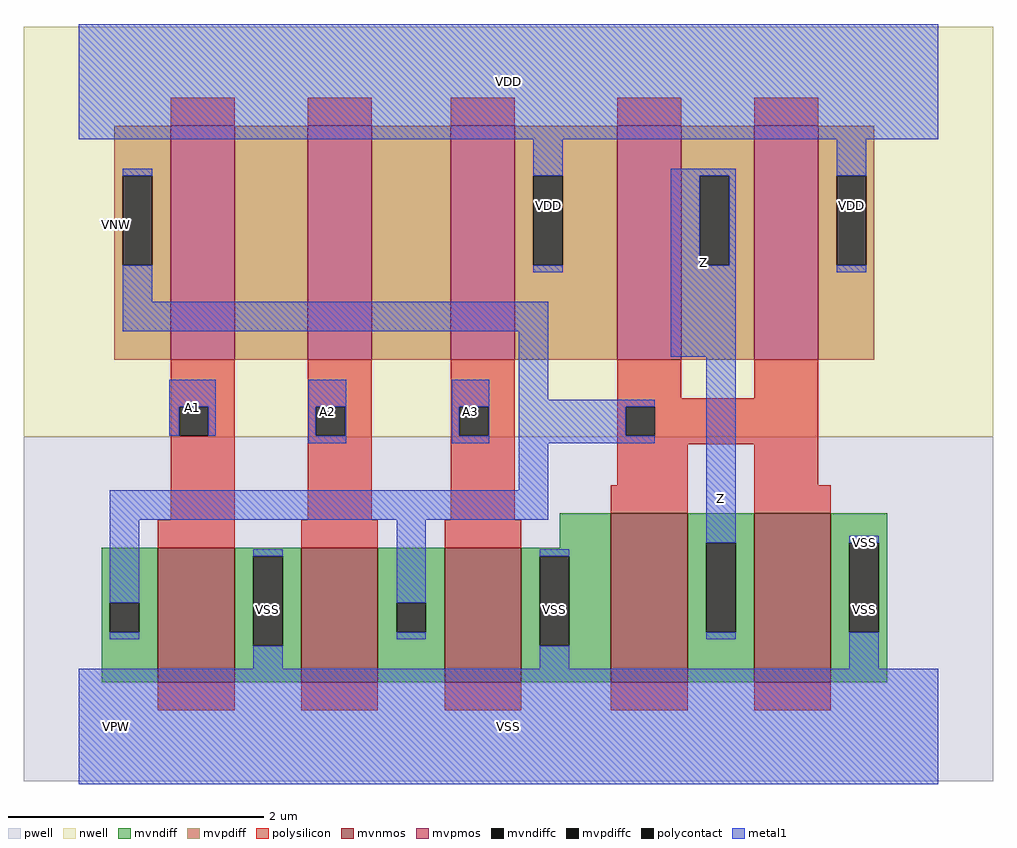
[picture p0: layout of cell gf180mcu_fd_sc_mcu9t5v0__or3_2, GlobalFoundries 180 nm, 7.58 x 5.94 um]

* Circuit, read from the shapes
.subckt gf180mcu_fd_sc_mcu9t5v0__or3_2 A1 A2 A3 Z VDD VNW VPW VSS
XM1 VSS A1 n1 VPW nfet_06v0 w=1.05u l=0.6u
XM2 n1 A2 VSS VPW nfet_06v0 w=1.05u l=0.6u
XM3 VSS A3 n1 VPW nfet_06v0 w=1.05u l=0.6u
XM4 Z n1 VSS VPW nfet_06v0 w=1.32u l=0.6u m=2
XM5 n2 A1 n1 VNW pfet_06v0 w=1.83u l=0.5u
XM6 n3 A2 n2 VNW pfet_06v0 w=1.83u l=0.5u
XM7 VDD A3 n3 VNW pfet_06v0 w=1.83u l=0.5u
XM8 Z n1 VDD VNW pfet_06v0 w=1.83u l=0.5u m=2
.ends

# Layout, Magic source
magic
tech gf180mcuD
magscale 1 10
<< nwell >>
rect -86 453 1430 1094
<< pwell >>
rect -86 -86 1430 453
<< mvnmos >>
rect 124 69 244 279
rect 348 69 468 279
rect 572 69 692 279
rect 832 69 952 333
rect 1056 69 1176 333
<< mvpmos >>
rect 144 573 244 939
rect 358 573 458 939
rect 582 573 682 939
rect 842 573 942 939
rect 1056 573 1156 939
<< mvndiff >>
rect 752 279 832 333
rect 36 193 124 279
rect 36 147 49 193
rect 95 147 124 193
rect 36 69 124 147
rect 244 266 348 279
rect 244 126 273 266
rect 319 126 348 266
rect 244 69 348 126
rect 468 193 572 279
rect 468 147 497 193
rect 543 147 572 193
rect 468 69 572 147
rect 692 266 832 279
rect 692 126 721 266
rect 767 126 832 266
rect 692 69 832 126
rect 952 287 1056 333
rect 952 147 981 287
rect 1027 147 1056 287
rect 952 69 1056 147
rect 1176 287 1264 333
rect 1176 147 1205 287
rect 1251 147 1264 287
rect 1176 69 1264 147
<< mvpdiff >>
rect 56 861 144 939
rect 56 721 69 861
rect 115 721 144 861
rect 56 573 144 721
rect 244 573 358 939
rect 458 573 582 939
rect 682 861 842 939
rect 682 721 711 861
rect 757 721 842 861
rect 682 573 842 721
rect 942 861 1056 939
rect 942 721 971 861
rect 1017 721 1056 861
rect 942 573 1056 721
rect 1156 861 1244 939
rect 1156 721 1185 861
rect 1231 721 1244 861
rect 1156 573 1244 721
<< mvndiffc >>
rect 49 147 95 193
rect 273 126 319 266
rect 497 147 543 193
rect 721 126 767 266
rect 981 147 1027 287
rect 1205 147 1251 287
<< mvpdiffc >>
rect 69 721 115 861
rect 711 721 757 861
rect 971 721 1017 861
rect 1185 721 1231 861
<< polysilicon >>
rect 144 939 244 983
rect 358 939 458 983
rect 582 939 682 983
rect 842 939 942 983
rect 1056 939 1156 983
rect 144 500 244 573
rect 144 454 157 500
rect 203 454 244 500
rect 144 323 244 454
rect 358 500 458 573
rect 358 454 371 500
rect 417 454 458 500
rect 358 323 458 454
rect 582 500 682 573
rect 582 454 595 500
rect 641 454 682 500
rect 582 323 682 454
rect 842 513 942 573
rect 1056 513 1156 573
rect 842 500 1156 513
rect 842 454 855 500
rect 901 454 1156 500
rect 842 441 1156 454
rect 842 377 952 441
rect 832 333 952 377
rect 1056 377 1156 441
rect 1056 333 1176 377
rect 124 279 244 323
rect 348 279 468 323
rect 572 279 692 323
rect 124 25 244 69
rect 348 25 468 69
rect 572 25 692 69
rect 832 25 952 69
rect 1056 25 1176 69
<< polycontact >>
rect 157 454 203 500
rect 371 454 417 500
rect 595 454 641 500
rect 855 454 901 500
<< metal1 >>
rect 0 918 1344 1098
rect 69 861 115 872
rect 69 664 115 721
rect 711 861 757 918
rect 711 710 757 721
rect 926 861 1027 872
rect 926 721 971 861
rect 1017 721 1027 861
rect 69 618 734 664
rect 142 500 214 542
rect 142 454 157 500
rect 203 454 214 500
rect 359 500 418 542
rect 359 454 371 500
rect 417 454 418 500
rect 359 443 418 454
rect 583 500 642 542
rect 583 454 595 500
rect 641 454 642 500
rect 583 443 642 454
rect 688 511 734 618
rect 926 578 1027 721
rect 1185 861 1231 918
rect 1185 710 1231 721
rect 688 500 901 511
rect 688 454 855 500
rect 688 443 901 454
rect 688 369 734 443
rect 49 323 734 369
rect 49 193 95 323
rect 49 136 95 147
rect 273 266 319 277
rect 497 193 543 323
rect 981 287 1027 578
rect 497 136 543 147
rect 721 266 767 277
rect 273 90 319 126
rect 981 136 1027 147
rect 1205 287 1251 298
rect 721 90 767 126
rect 1205 90 1251 147
rect 0 -90 1344 90
<< labels >>
flabel metal1 s 142 454 214 542 0 FreeSans 200 0 0 0 A1
port 1 nsew default input
flabel metal1 s 359 443 418 542 0 FreeSans 200 0 0 0 A2
port 2 nsew default input
flabel metal1 s 583 443 642 542 0 FreeSans 200 0 0 0 A3
port 3 nsew default input
flabel metal1 s 0 918 1344 1098 0 FreeSans 200 0 0 0 VDD
port 5 nsew power bidirectional abutment
flabel metal1 s 1205 277 1251 298 0 FreeSans 200 0 0 0 VSS
port 8 nsew ground bidirectional abutment
flabel metal1 s 926 578 1027 872 0 FreeSans 200 0 0 0 Z
port 4 nsew default output
flabel nwell s 10 734 110 834 0 FreeSans 400 0 0 0 VNW
port 6 nsew power bidirectional
flabel pwell s 10 -50 110 50 0 FreeSans 400 0 0 0 VPW
port 7 nsew ground bidirectional
rlabel metal1 s 981 136 1027 578 1 Z
port 4 nsew default output
rlabel metal1 s 1185 710 1231 918 1 VDD
port 5 nsew power bidirectional abutment
rlabel metal1 s 711 710 757 918 1 VDD
port 5 nsew power bidirectional abutment
rlabel metal1 s 1205 90 1251 277 1 VSS
port 8 nsew ground bidirectional abutment
rlabel metal1 s 721 90 767 277 1 VSS
port 8 nsew ground bidirectional abutment
rlabel metal1 s 273 90 319 277 1 VSS
port 8 nsew ground bidirectional abutment
rlabel metal1 s 0 -90 1344 90 1 VSS
port 8 nsew ground bidirectional abutment
<< properties >>
string FIXED_BBOX 0 0 1344 1008
string GDS_END 282758
string GDS_FILE $PDKPATH/libs.ref/gf180mcu_fd_sc_mcu9t5v0/gds/gf180mcu_fd_sc_mcu9t5v0.gds
string GDS_START 278740
string LEFclass core
string LEFsite GF018hv5v_green_sc9
string LEFsymmetry X Y
<< end >>
